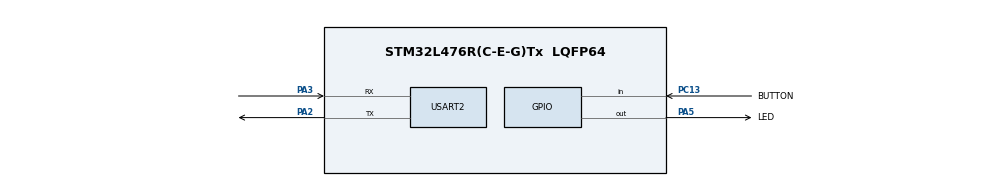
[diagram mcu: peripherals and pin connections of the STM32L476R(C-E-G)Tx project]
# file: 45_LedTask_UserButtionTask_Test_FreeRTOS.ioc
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FREERTOS.Tasks01=defaultTask,0,128,StartDefaultTask,Default,NULL,Dynamic,NULL,NULL
Mcu.Family=STM32L4
Mcu.Name=STM32L476R(C-E-G)Tx
Mcu.Package=LQFP64
NVIC.PriorityGroup=NVIC_PRIORITYGROUP_4
PA2.Mode=Asynchronous
PA2.Signal=USART2_TX
PA3.Mode=Asynchronous
PA3.Signal=USART2_RX
PA5.GPIO_Label=LED
PA5.PinState=GPIO_PIN_RESET
PA5.Signal=GPIO_Output
PC13.GPIO_Label=BUTTON
PC13.Signal=GPIO_Input
ProjectManager.HeapSize=0x200
ProjectManager.StackSize=0x400
ProjectManager.TargetToolchain=STM32CubeIDE
RCC.HSE_VALUE=8000000
RCC.HSI_VALUE=16000000
RCC.LSE_VALUE=32768
RCC.MSI_VALUE=4000000
RCC.VCOOutputFreq_Value=32000000
USART2.VirtualMode-Asynchronous=VM_ASYNC
VP_FREERTOS_VS_CMSIS_V1.Mode=CMSIS_V1
board=custom

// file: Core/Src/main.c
/* USER CODE BEGIN Header */
/**
  ******************************************************************************
  * @file           : main.c
  * @brief          : Main program body
  ******************************************************************************
  * @attention
  *
  * Copyright (c) 2026 STMicroelectronics.
  * All rights reserved.
  *
  * This software is licensed under terms that can be found in the LICENSE file
  * in the root directory of this software component.
  * If no LICENSE file comes with this software, it is provided AS-IS.
  *
  ******************************************************************************
  */
/* USER CODE END Header */
#include "main.h"
#include "cmsis_os.h"

/* USER CODE BEGIN Includes */
#include<stdio.h>
/* USER CODE END Includes */

/* USER CODE BEGIN PD */
#define NOT_PRESSED 0
#define PRESSED 1
/* USER CODE END PD */

UART_HandleTypeDef huart2;

osThreadId defaultTaskHandle;
/* USER CODE BEGIN PV */

TaskHandle_t xTaskHandle1 = NULL;
uint8_t button_status = NOT_PRESSED;

uint8_t buff[15] = "Task_led\n\r";
uint8_t buff2[15] = "Task_button\n\r";
/* USER CODE END PV */

void SystemClock_Config(void);
static void MX_GPIO_Init(void);
static void MX_USART2_UART_Init(void);
void StartDefaultTask(void const * argument);

/* USER CODE BEGIN 0 */
void led_task_handler(void *params)
{
	while(1)
	{
		HAL_UART_Transmit(&huart2, buff, 15, 100);
		if(button_status == PRESSED)
		{
			HAL_GPIO_WritePin(GPIOA, LED_Pin,SET);
		}else
		{
			HAL_GPIO_WritePin(GPIOA, LED_Pin,RESET);
		}

		taskYIELD();
	}

}

void button_Task_handler(void *params)
{
	while(1)
	{
		HAL_UART_Transmit(&huart2, buff, 15, 100);
		if(HAL_GPIO_ReadPin(GPIOC, BUTTON_Pin))
		{
			button_status = NOT_PRESSED;
		}
		else
		{
			button_status = PRESSED;
		}
		taskYIELD();
	}
}

/* USER CODE END 0 */

int main(void)
{

  /* MCU Configuration--------------------------------------------------------*/

  /* Reset of all peripherals, Initializes the Flash interface and the Systick. */
  HAL_Init();

  /* Configure the system clock */
  SystemClock_Config();

  /* Initialize all configured peripherals */
  MX_GPIO_Init();
  MX_USART2_UART_Init();
  /* USER CODE BEGIN 2 */
  printf("Testing the SVW...\n");

  /* USER CODE END 2 */

  /* Create the thread(s) */
  /* definition and creation of defaultTask */
  osThreadDef(defaultTask, StartDefaultTask, osPriorityNormal, 0, 128);
  defaultTaskHandle = osThreadCreate(osThread(defaultTask), NULL);

  /* USER CODE BEGIN RTOS_THREADS */
  /* add threads, ... */
  //create Led task
  xTaskCreate(led_task_handler,
		  "Led-Task",
		  configMINIMAL_STACK_SIZE,
		  NULL,
		  2,
		  NULL);

  //create button task
  xTaskCreate(button_Task_handler,
		  "Button-Task",
		  configMINIMAL_STACK_SIZE,
		  NULL,
		  2,
		  NULL);
  /* USER CODE END RTOS_THREADS */

  /* Start scheduler */
  osKernelStart();

  /* We should never get here as control is now taken by the scheduler */

  /* Infinite loop */
  while (1)
  {

  }
}

void SystemClock_Config(void)
{
  RCC_OscInitTypeDef RCC_OscInitStruct = {0};
  RCC_ClkInitTypeDef RCC_ClkInitStruct = {0};

  /** Configure the main internal regulator output voltage
  */
  if (HAL_PWREx_ControlVoltageScaling(PWR_REGULATOR_VOLTAGE_SCALE1) != HAL_OK)
  {
    Error_Handler();
  }

  /** Initializes the RCC Oscillators according to the specified parameters
  * in the RCC_OscInitTypeDef structure.
  */
  RCC_OscInitStruct.OscillatorType = RCC_OSCILLATORTYPE_MSI;
  RCC_OscInitStruct.MSIState = RCC_MSI_ON;
  RCC_OscInitStruct.MSICalibrationValue = 0;
  RCC_OscInitStruct.MSIClockRange = RCC_MSIRANGE_6;
  RCC_OscInitStruct.PLL.PLLState = RCC_PLL_NONE;
  if (HAL_RCC_OscConfig(&RCC_OscInitStruct) != HAL_OK)
  {
    Error_Handler();
  }

  /** Initializes the CPU, AHB and APB buses clocks
  */
  RCC_ClkInitStruct.ClockType = RCC_CLOCKTYPE_HCLK|RCC_CLOCKTYPE_SYSCLK
                              |RCC_CLOCKTYPE_PCLK1|RCC_CLOCKTYPE_PCLK2;
  RCC_ClkInitStruct.SYSCLKSource = RCC_SYSCLKSOURCE_MSI;
  RCC_ClkInitStruct.AHBCLKDivider = RCC_SYSCLK_DIV1;
  RCC_ClkInitStruct.APB1CLKDivider = RCC_HCLK_DIV1;
  RCC_ClkInitStruct.APB2CLKDivider = RCC_HCLK_DIV1;

  if (HAL_RCC_ClockConfig(&RCC_ClkInitStruct, FLASH_LATENCY_0) != HAL_OK)
  {
    Error_Handler();
  }
}

static void MX_USART2_UART_Init(void)
{

  huart2.Instance = USART2;
  huart2.Init.BaudRate = 115200;
  huart2.Init.WordLength = UART_WORDLENGTH_8B;
  huart2.Init.StopBits = UART_STOPBITS_1;
  huart2.Init.Parity = UART_PARITY_NONE;
  huart2.Init.Mode = UART_MODE_TX_RX;
  huart2.Init.HwFlowCtl = UART_HWCONTROL_NONE;
  huart2.Init.OverSampling = UART_OVERSAMPLING_16;
  huart2.Init.OneBitSampling = UART_ONE_BIT_SAMPLE_DISABLE;
  huart2.AdvancedInit.AdvFeatureInit = UART_ADVFEATURE_NO_INIT;
  if (HAL_UART_Init(&huart2) != HAL_OK)
  {
    Error_Handler();
  }

}

static void MX_GPIO_Init(void)
{
  GPIO_InitTypeDef GPIO_InitStruct = {0};

  /* GPIO Ports Clock Enable */
  __HAL_RCC_GPIOC_CLK_ENABLE();
  __HAL_RCC_GPIOA_CLK_ENABLE();

  /*Configure GPIO pin Output Level */
  HAL_GPIO_WritePin(LED_GPIO_Port, LED_Pin, GPIO_PIN_RESET);

  /*Configure GPIO pin : BUTTON_Pin */
  GPIO_InitStruct.Pin = BUTTON_Pin;
  GPIO_InitStruct.Mode = GPIO_MODE_INPUT;
  GPIO_InitStruct.Pull = GPIO_NOPULL;
  HAL_GPIO_Init(BUTTON_GPIO_Port, &GPIO_InitStruct);

  /*Configure GPIO pin : LED_Pin */
  GPIO_InitStruct.Pin = LED_Pin;
  GPIO_InitStruct.Mode = GPIO_MODE_OUTPUT_PP;
  GPIO_InitStruct.Pull = GPIO_NOPULL;
  GPIO_InitStruct.Speed = GPIO_SPEED_FREQ_LOW;
  HAL_GPIO_Init(LED_GPIO_Port, &GPIO_InitStruct);

}

void StartDefaultTask(void const * argument)
{
  for(;;)
  {
    osDelay(1);
  }
}

void Error_Handler(void)
{
  __disable_irq();
  while (1)
  {
  }
}
